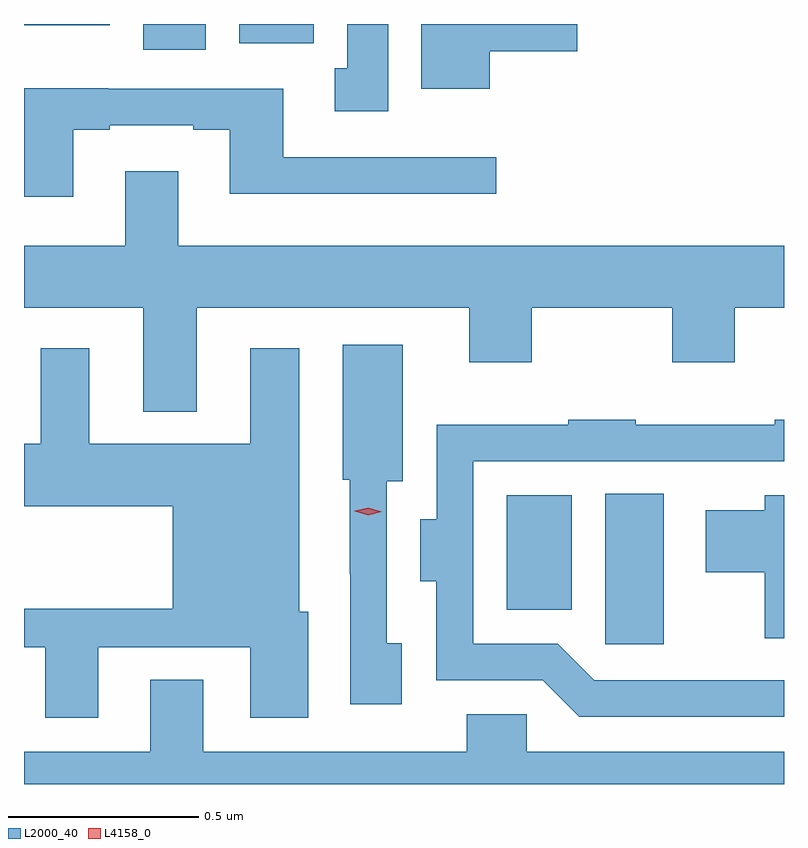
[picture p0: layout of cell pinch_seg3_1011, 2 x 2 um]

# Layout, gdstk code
import gdstk
lib = gdstk.Library(unit=1e-6, precision=1e-09)
def R(c, l, rs):  # rectangles x0, y0, x1, y1
    for r in rs: c.add(gdstk.rectangle(r[:2], r[2:], *l))
def P(c, l, *ps):  # polygons
    for p in ps: c.add(gdstk.Polygon(p, *l))
L2000_40 = (2000, 40)
L4158_0 = (4158, 0)

pinch_seg3_1011 = lib.new_cell('pinch_seg3_1011')
R(pinch_seg3_1011, L2000_40, [(419.996,694.703,420.151,695.099), (419.738,694.793,419.908,695.095), (418.781,696.267,418.945,696.335), (419.033,696.284,419.23,696.335), (418.467,696.332,418.693,696.335)])
P(pinch_seg3_1011, L2000_40, [(419.692,696.263),(419.923,696.263),(419.923,696.335),(419.513,696.335),(419.513,696.164),(419.692,696.164)],
  [(419.425,696.335),(419.318,696.335),(419.318,696.218),(419.285,696.218),(419.285,696.105),(419.425,696.105)],
  [(418.597,696.057),(418.693,696.057),(418.693,696.069),(418.913,696.069),(418.913,696.057),(419.009,696.057),(419.009,695.888),(419.71,695.888),(419.71,695.985),(419.149,695.985),(419.149,696.165),(418.689,696.165),(418.689,696.166),(418.467,696.166),(418.467,695.88),(418.597,695.88)],
  [(418.921,695.588),(419.639,695.588),(419.639,695.445),(419.803,695.445),(419.803,695.588),(420.173,695.588),(420.173,695.445),(420.337,695.445),(420.337,695.588),(420.467,695.588),(420.467,695.752),(418.873,695.752),(418.873,695.947),(418.733,695.947),(418.733,695.752),(418.467,695.752),(418.467,695.588),(418.781,695.588),(418.781,695.315),(418.921,695.315)],
  [(419.461,694.705),(419.421,694.705),(419.421,695.132),(419.464,695.132),(419.464,695.491),(419.306,695.491),(419.306,695.136),(419.324,695.136),(419.324,694.888),(419.325,694.888),(419.325,694.545),(419.461,694.545)],
  [(418.663,694.695),(419.063,694.695),(419.063,694.509),(419.215,694.509),(419.215,694.788),(419.191,694.788),(419.191,695.482),(419.063,695.482),(419.063,695.23),(418.639,695.23),(418.639,695.482),(418.511,695.482),(418.511,695.23),(418.467,695.23),(418.467,695.066),(418.859,695.066),(418.859,694.796),(418.467,694.796),(418.467,694.695),(418.523,694.695),(418.523,694.509),(418.663,694.509)],
  [(420.467,694.608),(419.967,694.608),(419.871,694.704),(419.649,694.704),(419.649,695.184),(420.467,695.184),(420.467,695.293),(420.443,695.293),(420.443,695.281),(420.077,695.281),(420.077,695.293),(419.899,695.293),(419.899,695.281),(419.553,695.281),(419.553,695.032),(419.51,695.032),(419.51,694.868),(419.552,694.868),(419.552,694.608),(419.832,694.608),(419.928,694.512),(420.467,694.512)],
  [(420.467,695.095),(420.416,695.095),(420.416,695.056),(420.261,695.056),(420.261,694.892),(420.416,694.892),(420.416,694.719),(420.467,694.719)],
  [(420.467,694.42),(419.79,694.42),(419.79,694.518),(419.632,694.518),(419.632,694.42),(418.939,694.42),(418.939,694.61),(418.799,694.61),(418.799,694.42),(418.467,694.42),(418.467,694.335),(420.467,694.335)])
P(pinch_seg3_1011, L4158_0, [(419.373,695.042),(419.337,695.053),(419.337,695.054),(419.337,695.054),(419.373,695.062),(419.409,695.051),(419.409,695.051),(419.409,695.051)])

lib.write_gds('pinch_seg3_1011.gds')
